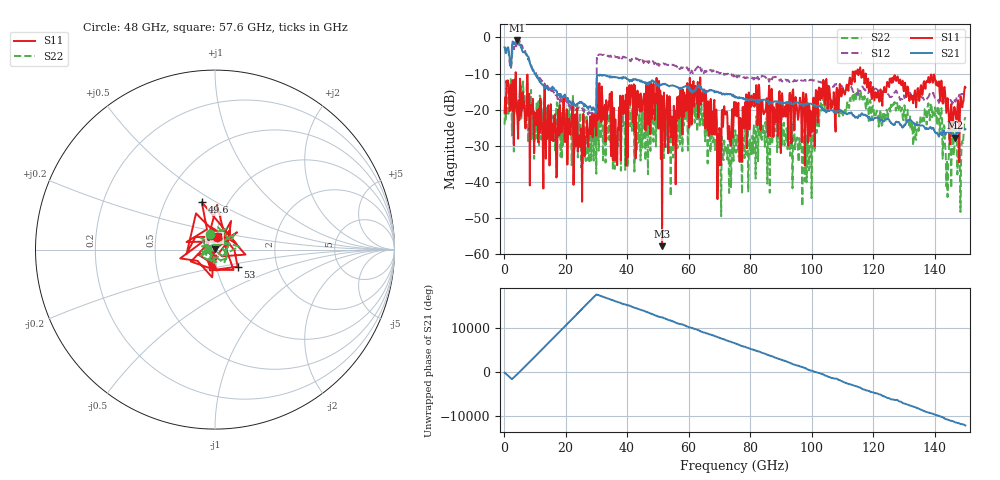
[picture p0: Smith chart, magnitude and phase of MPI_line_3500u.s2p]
!  2-Port S-parameters saved by WinCal
! VAR MeasName=S-Parameters (RAW_DATA) read from VNA (MS4647B)
! VAR MeasDate=09-Dec-21 16:33:37
! VAR NAME=L4
! VAR FILENAME=L4.S2P
! VAR DATE=09-Dec-21 16:33:37
! VAR PHYS_PORTS=1,2
! VAR ObjTypeName=DATASET
! VAR IndexType=Frequency
# Hz S RI R 50
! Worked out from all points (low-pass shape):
!   750 points, 200 MHz to 150 GHz, reference 50 ohm
!   highest |S21| = -0.83 dB at 4.2 GHz (marker M1); lowest = -27.8 dB at 146.6 GHz (marker M2)
!   |S21| within 3 dB of the highest: 736.2 MHz to 1.569 GHz (832.6 MHz wide, 72.2 % of centre); 2.54 GHz to 6.019 GHz (3.479 GHz wide, 81.3 % of centre)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
!   lowest |S11| = -57.9 dB at 51.4 GHz (marker M3), VSWR 1.00, Z = 49.9 + j0.0731 ohm
!   |S11| at or under -10 dB: start of sweep to 3.793 GHz; 3.81 GHz to 113.3 GHz (109.5 GHz wide, 187 % of centre); 117.6 GHz to end of sweep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
!   |S22| runs from -49.6 to -11.5 dB; largest |S21 - S12| = 1.8
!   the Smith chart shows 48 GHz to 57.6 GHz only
!   S11 on the Smith chart (normalised r, x): 48 GHz: 1.02, +0.15; 49.6 GHz: 0.76, +0.43; 53 GHz: 1.26, -0.25; 57.6 GHz: 0.94, +0.14
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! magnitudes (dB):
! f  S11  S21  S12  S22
! 200 MHz  -21.0  -2.8  -2.6  -24.2
! 4.2 GHz  -20.5  -0.8  -1.5  -18.1
! 25.2 GHz  -27.6  -17.9  -19.6  -36.1
! 29.4 GHz  -21.5  -20.1  -21.7  -23.3
! 30.8 GHz  -22.7  -10.4  -4.8  -31.4
! 36.6 GHz  -28.6  -11.1  -5.5  -27.8
! 41 GHz  -18.6  -11.8  -6.2  -24.6
! 48 GHz  -22.6  -12.1  -6.7  -20.9
! 49.6 GHz  -11.2  -13.3  -8.0  -16.9
! 50.2 GHz  -25.3  -13.1  -7.4  -25.2
! 51.4 GHz  -57.9  -13.0  -7.3  -22.2
! 53 GHz  -16.0  -13.2  -7.6  -22.5
! 57.6 GHz  -22.0  -14.3  -8.2  -27.5
! 64.4 GHz  -17.7  -14.4  -8.8  -23.1
! 70 GHz  -25.1  -15.5  -10.0  -26.8
! 75.2 GHz  -21.7  -16.3  -10.8  -25.8
! 100.2 GHz  -26.2  -18.5  -11.8  -30.0
! 104.2 GHz  -17.5  -20.0  -12.7  -19.9
! 125.2 GHz  -13.8  -22.9  -16.1  -19.8
! 146.6 GHz  -19.8  -27.8  -17.8  -24.4
! 148 GHz  -34.6  -25.7  -15.9  -30.2
! 150 GHz  -13.8  -25.5  -16.3  -22.1
